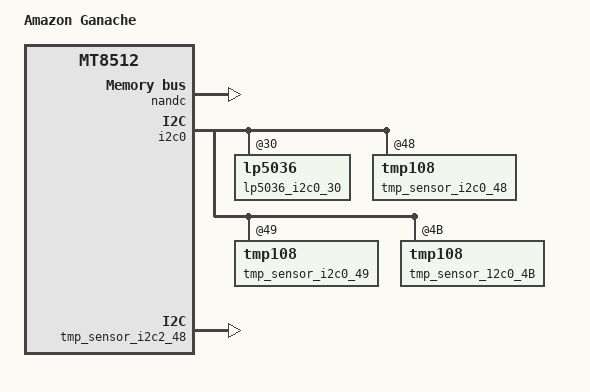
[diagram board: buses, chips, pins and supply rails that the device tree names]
/*
 * Copyright (c) 2019 - 2020 Amazon.com
 *
 * SPDX-License-Identifier: (GPL-2.0)
 */

/dts-v1/;
#include "brownie-mt8512.dtsi"

/ {
	model = "Amazon Ganache";
	compatible = "amzn,ganache-mt8512-nand-hvt", "mediatek,mt8512";

	chosen {
		bootargs = "";
	};
};

&nandc {
	status = "okay";
};

&i2c0 {
	lp5036_i2c0_30: lp5036@30 {
		status = "okay";
	};

	tmp_sensor_i2c0_48: tmp108@48 {
		status = "okay";
	};

	tmp_sensor_i2c0_49: tmp108@49 {
		status = "okay";
	};

	tmp_sensor_12c0_4B: tmp108@4B {
		status = "okay";
	};
};

&tmp_sensor_i2c2_48 {
	status = "okay";
};
